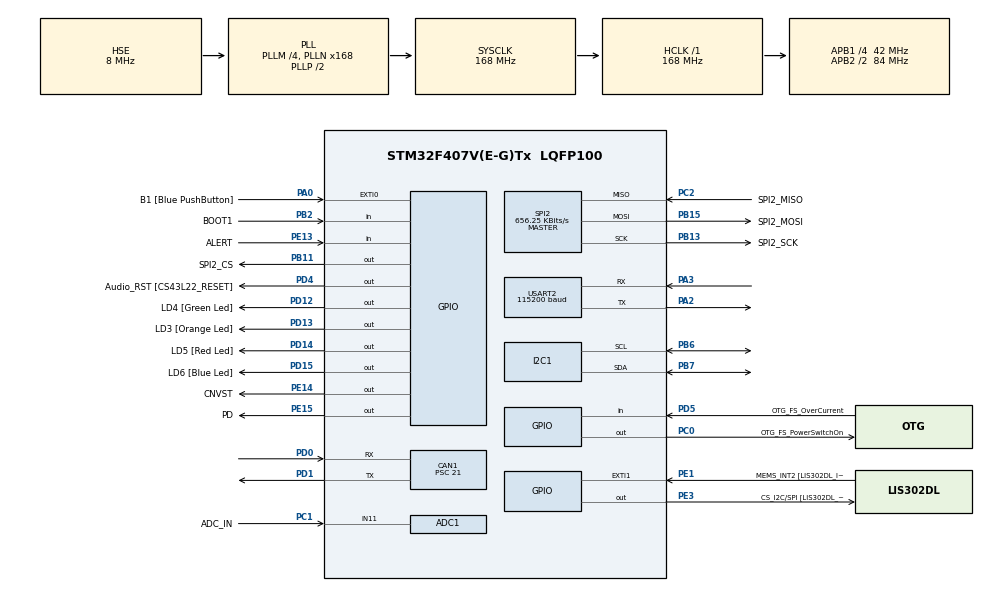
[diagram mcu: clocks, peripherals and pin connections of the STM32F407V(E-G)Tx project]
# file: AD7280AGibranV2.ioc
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ADC1.Channel-0\#ChannelRegularConversion=ADC_CHANNEL_11
ADC1.ClockPrescaler=ADC_CLOCK_SYNC_PCLK_DIV4
ADC1.ContinuousConvMode=DISABLE
ADC1.DMAContinuousRequests=DISABLE
ADC1.DataAlign=ADC_DATAALIGN_RIGHT
ADC1.DiscontinuousConvMode=DISABLE
ADC1.EOCSelection=ADC_EOC_SINGLE_CONV
ADC1.EnableAnalogWatchDog=false
ADC1.ExternalTrigConvEdge=ADC_EXTERNALTRIGCONVEDGE_NONE
ADC1.InjNumberOfConversion=0
ADC1.NbrOfConversion=1
ADC1.NbrOfConversionFlag=1
ADC1.Rank-0\#ChannelRegularConversion=1
ADC1.Resolution=ADC_RESOLUTION_12B
ADC1.SamplingTime-0\#ChannelRegularConversion=ADC_SAMPLETIME_15CYCLES
ADC1.ScanConvMode=DISABLE
ADC1.master=1
CAN1.BS1=CAN_BS1_4TQ
CAN1.BS2=CAN_BS2_3TQ
CAN1.CalculateBaudRate=250000
CAN1.CalculateTimeBit=4000
CAN1.CalculateTimeQuantum=500.0
CAN1.Prescaler=21
Dma.Request0=USART2_TX
Dma.USART2_TX.0.Direction=DMA_MEMORY_TO_PERIPH
Dma.USART2_TX.0.FIFOMode=DMA_FIFOMODE_DISABLE
Dma.USART2_TX.0.Instance=DMA1_Stream6
Dma.USART2_TX.0.MemDataAlignment=DMA_MDATAALIGN_BYTE
Dma.USART2_TX.0.MemInc=DMA_MINC_ENABLE
Dma.USART2_TX.0.Mode=DMA_NORMAL
Dma.USART2_TX.0.PeriphDataAlignment=DMA_PDATAALIGN_BYTE
Dma.USART2_TX.0.PeriphInc=DMA_PINC_DISABLE
Dma.USART2_TX.0.Priority=DMA_PRIORITY_LOW
Mcu.Family=STM32F4
Mcu.Name=STM32F407V(E-G)Tx
Mcu.Package=LQFP100
NVIC.ADC_IRQn=true\:0\:0\:false\:false\:true\:true\:true\:true
NVIC.CAN1_RX1_IRQn=true\:0\:0\:false\:false\:true\:true\:true\:true
NVIC.CAN1_TX_IRQn=true\:0\:0\:false\:false\:true\:true\:true\:true
NVIC.DMA1_Stream6_IRQn=true\:0\:0\:false\:false\:true\:true\:true\:true
NVIC.EXTI0_IRQn=true\:0\:3\:false\:false\:true\:true\:true\:true
NVIC.I2C1_EV_IRQn=true\:0\:2\:false\:false\:true\:true\:true\:true
NVIC.PriorityGroup=NVIC_PRIORITYGROUP_0
NVIC.SPI2_IRQn=true\:0\:1\:false\:false\:true\:true\:true\:true
NVIC.TIM1_BRK_TIM9_IRQn=true\:0\:4\:false\:false\:true\:true\:true\:true
NVIC.TIM3_IRQn=true\:0\:2\:false\:false\:true\:true\:true\:true
NVIC.USART2_IRQn=true\:0\:4\:false\:false\:true\:true\:true\:true
PA0-WKUP.GPIO_Label=B1 [Blue PushButton]
PA0-WKUP.GPIO_ModeDefaultEXTI=GPIO_MODE_IT_RISING
PA0-WKUP.GPIO_PuPd=GPIO_NOPULL
PA0-WKUP.Signal=GPXTI0
PA10.GPIO_Label=OTG_FS_ID
PA10.GPIO_Mode=GPIO_MODE_AF_PP
PA10.GPIO_PuPd=GPIO_NOPULL
PA10.GPIO_Speed=GPIO_SPEED_FREQ_LOW
PA10.Signal=USB_OTG_FS_ID
PA11.GPIO_Label=OTG_FS_DM
PA11.GPIO_Mode=GPIO_MODE_AF_PP
PA11.GPIO_PuPd=GPIO_NOPULL
PA11.GPIO_Speed=GPIO_SPEED_FREQ_LOW
PA11.Signal=USB_OTG_FS_DM
PA12.GPIO_Label=OTG_FS_DP
PA12.GPIO_Mode=GPIO_MODE_AF_PP
PA12.GPIO_PuPd=GPIO_NOPULL
PA12.GPIO_Speed=GPIO_SPEED_FREQ_LOW
PA12.Signal=USB_OTG_FS_DP
PA13.GPIO_Label=SWDIO
PA13.Mode=Trace_Asynchronous_SW
PA13.Signal=SYS_JTMS-SWDIO
PA14.GPIO_Label=SWCLK
PA14.Mode=Trace_Asynchronous_SW
PA14.Signal=SYS_JTCK-SWCLK
PA2.Mode=Asynchronous
PA2.Signal=USART2_TX
PA3.Mode=Asynchronous
PA3.Signal=USART2_RX
PA4.GPIO_Label=I2S3_WS [CS43L22_LRCK]
PA4.GPIO_Mode=GPIO_MODE_AF_PP
PA4.GPIO_PuPd=GPIO_NOPULL
PA4.GPIO_Speed=GPIO_SPEED_FREQ_LOW
PA4.Signal=I2S3_WS
PA5.GPIO_Label=SPI1_SCK [LIS302DL_SCL/SPC]
PA5.GPIO_Mode=GPIO_MODE_AF_PP
PA5.GPIO_PuPd=GPIO_NOPULL
PA5.GPIO_Speed=GPIO_SPEED_FREQ_LOW
PA5.Signal=SPI1_SCK
PA6.GPIO_Label=SPI1_MISO [LIS302DL_SDO]
PA6.GPIO_Mode=GPIO_MODE_AF_PP
PA6.GPIO_PuPd=GPIO_NOPULL
PA6.GPIO_Speed=GPIO_SPEED_FREQ_LOW
PA6.Signal=SPI1_MISO
PA7.GPIO_Label=SPI1_MOSI [LIS302DL_SDA/SDI/SDO]
PA7.GPIO_Mode=GPIO_MODE_AF_PP
PA7.GPIO_PuPd=GPIO_NOPULL
PA7.GPIO_Speed=GPIO_SPEED_FREQ_LOW
PA7.Signal=SPI1_MOSI
PA9.GPIO_Label=VBUS_FS
PA9.GPIO_Mode=GPIO_MODE_INPUT
PA9.GPIO_PuPd=GPIO_NOPULL
PA9.Signal=USB_OTG_FS_VBUS
PB10.GPIO_Label=CLK_IN [MP45DT02_CLK]
PB10.GPIO_Mode=GPIO_MODE_AF_PP
PB10.GPIO_PuPd=GPIO_NOPULL
PB10.GPIO_Speed=GPIO_SPEED_FREQ_LOW
PB10.Signal=I2S2_CK
PB11.GPIO_Label=SPI2_CS
PB11.GPIO_PuPd=GPIO_PULLUP
PB11.GPIO_Speed=GPIO_SPEED_FREQ_VERY_HIGH
PB11.Signal=GPIO_Output
PB13.GPIO_Label=SPI2_SCK
PB13.Mode=Full_Duplex_Master
PB13.Signal=SPI2_SCK
PB15.GPIO_Label=SPI2_MOSI
PB15.Mode=Full_Duplex_Master
PB15.Signal=SPI2_MOSI
PB2.GPIO_Label=BOOT1
PB2.GPIO_Mode=GPIO_MODE_INPUT
PB2.GPIO_PuPd=GPIO_NOPULL
PB2.Signal=GPIO_Input
PB3.GPIO_Label=SWO
PB3.Mode=Trace_Asynchronous_SW
PB3.Signal=SYS_JTDO-SWO
PB6.GPIO_Mode=GPIO_MODE_AF_OD
PB6.GPIO_Pu=GPIO_PULLUP
PB6.GPIO_PuPd=GPIO_NOPULL
PB6.GPIO_Speed=GPIO_SPEED_FREQ_VERY_HIGH
PB6.Mode=I2C
PB6.Signal=I2C1_SCL
PB7.GPIO_Mode=GPIO_MODE_AF_OD
PB7.GPIO_Pu=GPIO_PULLUP
PB7.GPIO_Speed=GPIO_SPEED_FREQ_VERY_HIGH
PB7.Mode=I2C
PB7.Signal=I2C1_SDA
PC0.GPIO_Label=OTG_FS_PowerSwitchOn
PC0.GPIO_PuPd=GPIO_NOPULL
PC0.GPIO_Speed=GPIO_SPEED_FREQ_LOW
PC0.Signal=GPIO_Output
PC1.GPIO_Label=ADC_IN
PC1.Signal=ADCx_IN11
PC10.GPIO_Label=I2S3_SCK [CS43L22_SCLK]
PC10.GPIO_Mode=GPIO_MODE_AF_PP
PC10.GPIO_PuPd=GPIO_NOPULL
PC10.GPIO_Speed=GPIO_SPEED_FREQ_LOW
PC10.Signal=I2S3_CK
PC12.GPIO_Label=I2S3_SD [CS43L22_SDIN]
PC12.GPIO_Mode=GPIO_MODE_AF_PP
PC12.GPIO_PuPd=GPIO_NOPULL
PC12.GPIO_Speed=GPIO_SPEED_FREQ_LOW
PC12.Signal=I2S3_SD
PC14-OSC32_IN.GPIO_Label=PC14-OSC32_IN
PC14-OSC32_IN.Signal=RCC_OSC32_IN
PC15-OSC32_OUT.GPIO_Label=PC15-OSC32_OUT
PC15-OSC32_OUT.Signal=RCC_OSC32_OUT
PC2.GPIO_Label=SPI2_MISO
PC2.Mode=Full_Duplex_Master
PC2.Signal=SPI2_MISO
PC3.GPIO_Label=PDM_OUT [MP45DT02_DOUT]
PC3.GPIO_Mode=GPIO_MODE_AF_PP
PC3.GPIO_PuPd=GPIO_NOPULL
PC3.GPIO_Speed=GPIO_SPEED_FREQ_LOW
PC3.Signal=I2S2_SD
PC7.GPIO_Label=I2S3_MCK [CS43L22_MCLK]
PC7.GPIO_Mode=GPIO_MODE_AF_PP
PC7.GPIO_PuPd=GPIO_NOPULL
PC7.GPIO_Speed=GPIO_SPEED_FREQ_LOW
PC7.Signal=I2S3_MCK
PD0.Mode=CAN_Activate
PD0.Signal=CAN1_RX
PD1.Mode=CAN_Activate
PD1.Signal=CAN1_TX
PD12.GPIO_Label=LD4 [Green Led]
PD12.GPIO_PuPd=GPIO_NOPULL
PD12.GPIO_Speed=GPIO_SPEED_FREQ_LOW
PD12.Signal=GPIO_Output
PD13.GPIO_Label=LD3 [Orange Led]
PD13.GPIO_PuPd=GPIO_NOPULL
PD13.GPIO_Speed=GPIO_SPEED_FREQ_LOW
PD13.Signal=GPIO_Output
PD14.GPIO_Label=LD5 [Red Led]
PD14.GPIO_PuPd=GPIO_NOPULL
PD14.GPIO_Speed=GPIO_SPEED_FREQ_LOW
PD14.Signal=GPIO_Output
PD15.GPIO_Label=LD6 [Blue Led]
PD15.GPIO_PuPd=GPIO_NOPULL
PD15.GPIO_Speed=GPIO_SPEED_FREQ_LOW
PD15.Signal=GPIO_Output
PD4.GPIO_Label=Audio_RST [CS43L22_RESET]
PD4.GPIO_PuPd=GPIO_NOPULL
PD4.GPIO_Speed=GPIO_SPEED_FREQ_LOW
PD4.Signal=GPIO_Output
PD5.GPIO_Label=OTG_FS_OverCurrent
PD5.GPIO_Mode=GPIO_MODE_INPUT
PD5.GPIO_PuPd=GPIO_NOPULL
PD5.Signal=GPIO_Input
PE1.GPIO_Label=MEMS_INT2 [LIS302DL_INT2]
PE1.GPIO_ModeDefaultEXTI=GPIO_MODE_EVT_RISING
PE1.GPIO_PuPd=GPIO_NOPULL
PE1.Signal=GPXTI1
PE13.GPIO_Label=ALERT
PE13.Signal=GPIO_Input
PE14.GPIO_Label=CNVST
PE14.GPIO_PuPd=GPIO_PULLUP
PE14.GPIO_Speed=GPIO_SPEED_FREQ_VERY_HIGH
PE14.Signal=GPIO_Output
PE15.GPIO_Label=PD
PE15.GPIO_PuPd=GPIO_PULLUP
PE15.GPIO_Speed=GPIO_SPEED_FREQ_VERY_HIGH
PE15.Signal=GPIO_Output
PE3.GPIO_Label=CS_I2C/SPI [LIS302DL_CS_I2C/SPI]
PE3.GPIO_PuPd=GPIO_NOPULL
PE3.GPIO_Speed=GPIO_SPEED_FREQ_LOW
PE3.Signal=GPIO_Output
PH0-OSC_IN.GPIO_Label=PH0-OSC_IN
PH0-OSC_IN.Mode=HSE-External-Oscillator
PH0-OSC_IN.Signal=RCC_OSC_IN
PH1-OSC_OUT.GPIO_Label=PH1-OSC_OUT
PH1-OSC_OUT.Mode=HSE-External-Oscillator
PH1-OSC_OUT.Signal=RCC_OSC_OUT
ProjectManager.HeapSize=0x200
ProjectManager.StackSize=0x400
ProjectManager.TargetToolchain=STM32CubeIDE
RCC.48MHZClocksFreq_Value=48000000
RCC.AHBFreq_Value=168000000
RCC.APB1CLKDivider=RCC_HCLK_DIV4
RCC.APB1Freq_Value=42000000
RCC.APB1TimFreq_Value=84000000
RCC.APB2CLKDivider=RCC_HCLK_DIV2
RCC.APB2Freq_Value=84000000
RCC.APB2TimFreq_Value=168000000
RCC.CortexFreq_Value=168000000
RCC.HCLKFreq_Value=168000000
RCC.HSE_VALUE=8000000
RCC.HSI_VALUE=16000000
RCC.LSE_VALUE=32768
RCC.PLLM=4
RCC.PLLN=168
RCC.PLLQ=7
RCC.PLLSourceVirtual=RCC_PLLSOURCE_HSE
RCC.SYSCLKFreq_VALUE=168000000
RCC.SYSCLKSource=RCC_SYSCLKSOURCE_PLLCLK
RCC.VCOOutputFreq_Value=336000000
SH.ADCx_IN11.0=ADC1_IN11,IN11
SPI2.BaudRatePrescaler=SPI_BAUDRATEPRESCALER_64
SPI2.CLKPhase=SPI_PHASE_2EDGE
SPI2.CalculateBaudRate=656.25 KBits/s
SPI2.DataSize=SPI_DATASIZE_16BIT
SPI2.Direction=SPI_DIRECTION_2LINES
SPI2.Mode=SPI_MODE_MASTER
SPI2.VirtualType=VM_MASTER
TIM3.Period=1999
TIM3.Prescaler=48000
TIM9.Period=99
TIM9.Prescaler=480
USART2.BaudRate=115200
USART2.VirtualMode=VM_ASYNC
VP_TIM3_VS_ClockSourceINT.Mode=Internal
VP_TIM9_VS_ClockSourceINT.Mode=Internal
board=STM32F4DISCOVERY

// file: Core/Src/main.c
/* USER CODE BEGIN Header */
/**
  ******************************************************************************
  * @file           : main.c
  * @brief          : Main program body
  ******************************************************************************
  * @attention
  *
  * Copyright (c) 2025 STMicroelectronics.
  * All rights reserved.
  *
  * This software is licensed under terms that can be found in the LICENSE file
  * in the root directory of this software component.
  * If no LICENSE file comes with this software, it is provided AS-IS.
  *
  ******************************************************************************
  */
/* USER CODE END Header */
#include "main.h"
#include "adc.h"
#include "can.h"
#include "dma.h"
#include "i2c.h"
#include "spi.h"
#include "tim.h"
#include "usart.h"
#include "gpio.h"

/* USER CODE BEGIN Includes */
#include "ADS1015_ADS1115.h"
#include "math.h"
#include "ad7280a_stm32.h"
#include "string.h"
#include "eeprom.h"
#include "stdlib.h"
#include "stdio.h"
/* USER CODE END Includes */

/* USER CODE BEGIN PV */
#define		VTh				0.025		//Battery voltage treshold in percentage of battery average voltage to detect cell that have to be in balancing state (charging mode)
#define		VTh_CB				0.05		//Treshold for cell balancing
#define		Vhigh				4100		//High Voltage limit
#define		Vlow				2800		//Low Voltage limit
#define         Vth_high                        4000
#define         Vth_low                         2800
#define         Thigh                           55              //High temp limit
#define		CTh				0.1		//Current treshold in percentage of battery capacity to detect in idle, charge or discharge condition
#define		packCapacity			24		//Battery Capacity in Ah
#define		discharge_current_limit		-300		//Discharge current limit in Ampere
#define		charge_current_limit		8
#define		THERMISTORNOMINAL		10000
#define		TEMPERATURENOMINAL		25
#define		BCOEFFICIENT			3974
#define		SERIESRESISTOR			10000
#define         consecutiveCount                20      //How many consecutive count error to trigger fault
//#define		BATTERY_SERIES_CON		24
//#define 		ARM_MATH_CM4

float					thermistor_resistance[BATTERY_SERIES_CON];
uint8_t 					SPI_Ready = 1, SPI_TX = 1, SPI_RX = 1;
uint8_t 					readBattery = 0;
uint16_t 				ADC_Val = 0;
uint16_t                                ADC_Val_Ref = 0;
float                                   vRef;
uint16_t 				sample_num;
float                                   Vtotal = 0;
float 					out[3]={0,0,0},in[3]={0,0,0};
float 					ADC_Filtered;
float 					current[2], mAh, Ah, accumulator;
uint16_t				capacity = 16200;
float                                   vADC;

float 					Vmax,Vmin,Vavg,Vtresh;
uint8_t					Cell_balancer[BATTERY_SERIES_CON],CB[BATTERY_SERIES_CON/6][12], lastCB[BATTERY_SERIES_CON/6][12], packState=0, lastPackState=0, CBChange;
uint8_t					packUnbalanced = 0,lastPackUnbalanced = 0;
uint8_t					fully_discharged=0,last_fully_discharged=0,fully_charged=0;

extern float         			cellVoltage[BATTERY_SERIES_CON];
extern float         			auxADC[BATTERY_SERIES_CON];
float							temperature[BATTERY_SERIES_CON];

float					VarDataCap = 0;
uint16_t 				VarValue,VarDataTmp = 0;

uint8_t					startUp;
uint16_t 				telo1, telo2;
char					textBuf[511];

uint8_t									DschCtrl, ChCtrl;
uint8_t                                 DisCtrl, CharCtrl;
uint8_t                                 uv_stat, ov_stat;
uint8_t                                 ot_stat;
uint8_t                                 fault1, faultChar,faultall;
int16_t                                 kampret;

uint16_t                                fault0;

ADS1xx5_I2C 							i2c;
int16_t 								adc1;
int 									millivolt;
char 									snum[7];  // Sufficient space for millivolt values (-4096 to 4096)

int __io_putchar(int ch) {
    HAL_UART_Transmit(&huart2, (uint8_t *)&ch, 1, HAL_MAX_DELAY);
    return ch;
}
/* USER CODE END PV */

void SystemClock_Config(void);
/* USER CODE BEGIN PFP */
void LPF_current_sensor(void);
void current_calc(void);
void calcVBatCond(void);
void temperature_calc(void);
void printPlot(void);
void chargingMode(void);
void Error_Handler(void);
void calcUV(void);
void calcOV(void);
void calcOT(void);
void faultDet(void);
void faultDetChar(void);
void faultTotal(void);
void q31_to_u16_buffer(int32_t inval, uint16_t* pBuffer);
void calcVtotal(void);
void Get_ADC_Value(void);
void CANTransmit(void);
void ReadADS1115(void);
/* USER CODE END PFP */

int main(void)
{

  /* MCU Configuration--------------------------------------------------------*/

  /* Reset of all peripherals, Initializes the Flash interface and the Systick. */
  HAL_Init();

  /* Configure the system clock */
  SystemClock_Config();

  /* Initialize all configured peripherals */
  MX_GPIO_Init();
  MX_DMA_Init();
  MX_ADC1_Init();
  MX_SPI2_Init();
  MX_TIM3_Init();
  MX_TIM9_Init();
  MX_USART2_UART_Init();
  MX_CAN1_Init();
  MX_I2C1_Init();
  /* USER CODE BEGIN 2 */
  HAL_CAN_Start(&hcan1);
  HAL_CAN_ActivateNotification(&hcan1,
      CAN_IT_RX_FIFO0_MSG_PENDING |
      CAN_IT_TX_MAILBOX_EMPTY);

  accumulator = capacity;
  AD7280A_Init();

  HAL_TIM_Base_Start_IT(&htim3);
  HAL_TIM_Base_Start_IT(&htim9);
  startUp = 1;
  ADS1115(&i2c, &hi2c1, ADS_ADDR_GND); // Or ADS1015(&i2c, &hi2c1, ADS_ADDR_GND);
  ADSsetGain(&i2c, GAIN_ONE);

  for(int i = 0; i < 20; i++){
      Get_ADC_Value();
      ADC_Val_Ref = ADC_Val_Ref + ADC_Val;
    }
     vRef = ((ADC_Val_Ref/20)/4095.)*3.3;

    if(vRef < 2.6 && vRef > 2.4){
     vRef = vRef;
    }
    else{ vRef = 2.5;}
  /* USER CODE END 2 */

  /* Infinite loop */
  while (1)
  {

    /* USER CODE BEGIN 3 */
	    if(readBattery == 1)
	    {
	      AD7280A_Convert_Read_All(BATTERY_SERIES_CON);							// read all battery voltage and auxilary adc

	      /* // buat testing balancing
	      if(ctrcb == 5) {
	        ctrcb = 0;
	        cbcb++;
	      }
	      ctrcb++;

	      if(cbcb < 12){
	        cellVoltage[cbcb] = 3580;
	      }
	      //if(cbcb == 9) cbcb = 8;
	      else if(cbcb >= 12) cbcb = 6;
	      */

	      HAL_GPIO_WritePin(LD6_GPIO_Port, LD6_Pin, GPIO_PIN_SET);

	      Get_ADC_Value();
	     // ReadADS1115();
	      Vtotal = 0;
	      calcVtotal();
	      temperature_calc();
	      calcVBatCond();											// calc all Vbat condition include battery cell need to be balanced
	      calcUV();
	      calcOV();
	      calcOT();
	      faultDet();
	      faultDetChar();
	      faultTotal();
	      if(packState ==  1 && lastPackState != 1 ){					//Charging state detected when the state before is Idle state	=>> deteksi kondisi dari idle/discharging ke charging
		if(packUnbalanced == 1)									//unbalanced pack condition detection
		{
		  //printf("Cond 1\n");
		  chargingMode();										//Balancing activation if pack is unbalanced
		}
		else
		{
		   //printf("Cond 2\n");
		   AD7280A_CBOffAll();									//Turn off all balancing output if pack is already in balanced condition
		}
	      }
	      else if(packState == 1 && lastPackState ==1){				//detection in charging state	=>> deteksi kondisi pada saat charging
		if(packUnbalanced == 0 && lastPackUnbalanced == 1)		//when in charging state, the pack goes to balanced condition
		{
	          //printf("Cond 3\n");
		  AD7280A_CBOffAll();									//Turn off all balancing output
		}
		else if(packUnbalanced == 1 && lastPackUnbalanced ==0)
		{
		  //printf("Cond 4\n");
		  //AD7280A_CBxTim(2);
		  //AD7280A_CBOutAll(12);
		  chargingMode();
		}
		else if(packUnbalanced == 1 && lastPackUnbalanced == 1 && CBChange ==1)
		{
		  //printf("Cond 5\n");
		  chargingMode();
		}
	      }
	      else if(packState == 0 && lastPackState == 1){				//when go to Idle state from charging state	=>> deteksi kondisi charging ke idle
		//printf("Cond 6\n");
		AD7280A_CBOffAll();										//turn off all balancing output
	      }

	      //chargingMode();
	      printPlot();
	      CANTransmit();
	      //sendCANMessage();

	      HAL_GPIO_WritePin(LD6_GPIO_Port, LD6_Pin, GPIO_PIN_RESET);

	      if(packState == 1)
	      {
		//HAL_GPIO_TogglePin(LD3_GPIO_Port, LD3_Pin);
		//HAL_GPIO_WritePin(LD4_GPIO_Port, LD4_Pin, GPIO_PIN_RESET);
	      }
	      else if(packState ==2)
	      {
		//HAL_GPIO_TogglePin(LD4_GPIO_Port, LD4_Pin);
		//HAL_GPIO_WritePin(LD3_GPIO_Port, LD3_Pin, GPIO_PIN_RESET);
	      }
	      else
	      {
		//HAL_GPIO_WritePin(LD3_GPIO_Port, LD3_Pin, GPIO_PIN_RESET);
		//HAL_GPIO_WritePin(LD4_GPIO_Port, LD4_Pin, GPIO_PIN_RESET);
	      }

	      //if(fully_discharged==1)
		//HAL_GPIO_WritePin(LD6_GPIO_Port, LD6_Pin, GPIO_PIN_RESET);
	      //else
		//HAL_GPIO_WritePin(LD6_GPIO_Port, LD6_Pin, GPIO_PIN_SET);

	      //if(fully_charged==1)
		//HAL_GPIO_WritePin(LD5_GPIO_Port, LD5_Pin, GPIO_PIN_SET);
	      //else
		//HAL_GPIO_WritePin(LD5_GPIO_Port, LD5_Pin, GPIO_PIN_RESET);

	      lastPackState = packState;
	      startUp = 0;
	      fault0 = fault1;

	      if(startUp == 0 && packState !=0)
		{
//			if(EE_WriteVariable(VirtAddVarTab[1], (uint16_t) capacity) != HAL_OK)
//	 		{
//			  Error_Handler();;
//	 		}
		}

	    }

	      }
  /* USER CODE END 3 */
}

void SystemClock_Config(void)
{
  RCC_OscInitTypeDef RCC_OscInitStruct = {0};
  RCC_ClkInitTypeDef RCC_ClkInitStruct = {0};

  /** Configure the main internal regulator output voltage
  */
  __HAL_RCC_PWR_CLK_ENABLE();
  __HAL_PWR_VOLTAGESCALING_CONFIG(PWR_REGULATOR_VOLTAGE_SCALE1);

  /** Initializes the RCC Oscillators according to the specified parameters
  * in the RCC_OscInitTypeDef structure.
  */
  RCC_OscInitStruct.OscillatorType = RCC_OSCILLATORTYPE_HSE;
  RCC_OscInitStruct.HSEState = RCC_HSE_ON;
  RCC_OscInitStruct.PLL.PLLState = RCC_PLL_ON;
  RCC_OscInitStruct.PLL.PLLSource = RCC_PLLSOURCE_HSE;
  RCC_OscInitStruct.PLL.PLLM = 4;
  RCC_OscInitStruct.PLL.PLLN = 168;
  RCC_OscInitStruct.PLL.PLLP = RCC_PLLP_DIV2;
  RCC_OscInitStruct.PLL.PLLQ = 7;
  if (HAL_RCC_OscConfig(&RCC_OscInitStruct) != HAL_OK)
  {
    Error_Handler();
  }

  /** Initializes the CPU, AHB and APB buses clocks
  */
  RCC_ClkInitStruct.ClockType = RCC_CLOCKTYPE_HCLK|RCC_CLOCKTYPE_SYSCLK
                              |RCC_CLOCKTYPE_PCLK1|RCC_CLOCKTYPE_PCLK2;
  RCC_ClkInitStruct.SYSCLKSource = RCC_SYSCLKSOURCE_PLLCLK;
  RCC_ClkInitStruct.AHBCLKDivider = RCC_SYSCLK_DIV1;
  RCC_ClkInitStruct.APB1CLKDivider = RCC_HCLK_DIV4;
  RCC_ClkInitStruct.APB2CLKDivider = RCC_HCLK_DIV2;

  if (HAL_RCC_ClockConfig(&RCC_ClkInitStruct, FLASH_LATENCY_5) != HAL_OK)
  {
    Error_Handler();
  }
}

/* USER CODE BEGIN 4 */
void HAL_CAN_RxFifo0MsgPendingCallback(CAN_HandleTypeDef *hcan) {
    CAN_RxHeaderTypeDef rxHeader;
    uint8_t rxData[8];

    // Read the received message
    if (HAL_CAN_GetRxMessage(hcan, CAN_RX_FIFO0, &rxHeader, rxData) == HAL_OK) {
        if (rxHeader.IDE == CAN_ID_EXT) {
            // Extended ID received
            if (rxHeader.ExtId == 0x18FF50E5) {
                printf("Received Charger Feedback: 0x%X | Data: ", rxHeader.ExtId);
                for (int i = 0; i < rxHeader.DLC; i++) {
                    printf("%02X ", rxData[i]);
                }
                printf("\n");
            }
        } else if (rxHeader.IDE == CAN_ID_STD) {
            // Standard ID received
            if (rxHeader.StdId >= 18 && rxHeader.StdId <= 41) {
                printf("Received Standard ID: 0x%X | Data: ", rxHeader.StdId);
                for (int i = 0; i < rxHeader.DLC; i++) {
                    printf("%02X ", rxData[i]);
                }
                printf("\n");
            }
        }
    }
}

void HAL_CAN_TxMailbox0CompleteCallback(CAN_HandleTypeDef *hcan) {
    //printf("CAN Transmission Successful\r\n");
}

void ReadADS1115(void){
    adc1 = ADSreadADC_SingleEnded(&i2c, 1);  // Read ADC channel 1
    millivolt = adc1 * 4.096 * 1000 / 32768; // Convert to millivolts

    itoa(millivolt, snum, 10);  // Convert int to string

    // Example: Send over serial or display
    //printf("ADC1: %d mV\n", millivolt);
}

void CANTransmit(void) {

	// CAN CURRENT
    //char strNumber[20];       // Buffer to hold the converted float as a string
    float currentC = current[0];
    uint8_t TxData[2];  // Data array to store firstByte and secondByte
    // Step 1: Take absolute value and round to the nearest integer
    int currentCAN = (int) round(fabs(currentC));

    // Step 2: Extract tens and ones place
    uint8_t currentfirstByte = (uint8_t) floor(currentCAN / 10.0);
    uint8_t currentsecondByte = (uint8_t) (currentCAN % 10);

//    // Step 3: Extract tens and ones place
//    uint8_t currentfirstByte = (uint8_t)floor((double)currentCAN / 10);
//    uint8_t currentsecondByte = (uint8_t)(currentCAN % 10); // Ones place

//    int scaledData = (int)current[0]; // Scale the data if necessary
//
//    if (scaledData < 255 || scaledData > -255) {
//        TxData[0] = 0;
//        TxData[1] = (uint8_t)floor(scaledData / 100.0); // Integer part with floor rounding
//        TxData[2] = (uint8_t)(scaledData % 100); // Decimal part
//    } else {
//        TxData[0] = (uint8_t)(scaledData / 10000); // First digit
//        TxData[1] = (uint8_t)floor(scaledData / 100.0); // Integer part
//        TxData[2] = (uint8_t)(scaledData % 100); // Decimal part
//    }

	    // Debug output
//	    printf("MilliCurrent: %.6f mA\n", milliCurrent);
//	    printf("First three significant digits: %s\n", firstThreeDigits);
//	    printf("currentCAN: %d\n", currentCAN);
//	    printf("First Byte: %d\n", currentfirstByte);
//	    printf("Second Byte: %d\n", currentsecondByte);

	    CAN_TxHeaderTypeDef TxHeader;

	    uint8_t ChargerData[8];
	    uint32_t TxMailbox;

	    // Set CAN message ID and properties
	    TxHeader.StdId = 56;       // Standard ID 0x56
	    TxHeader.ExtId = 0;          // Not using extended ID
	    TxHeader.IDE = CAN_ID_STD;   // Standard ID mode
	    TxHeader.RTR = CAN_RTR_DATA; // Data frame
	    TxHeader.DLC = 2;            // Sending 2 bytes

	    // Assign data bytes
	    TxData[0] = currentfirstByte;
	    TxData[1] = currentsecondByte;

	    // Send CAN message
	    if (HAL_CAN_AddTxMessage(&hcan1, &TxHeader, TxData, &TxMailbox) != HAL_OK) {
	        // Handle error
	        printf("CAN Transmission Failed!\n");
	    } else {
//	        printf("CAN Message Sent: ID=0x56, Data=[%d, %d]\n", currentfirstByte, currentsecondByte);
	    }

	    TxHeader.StdId = 0x1806E5F4;       // Standard ID 0x56
	    TxHeader.ExtId = 0;          // Not using extended ID
	    TxHeader.IDE = CAN_ID_STD;   // Standard ID mode
	    TxHeader.RTR = CAN_RTR_DATA; // Data frame
	    TxHeader.DLC = 8;            // Sending 2 bytes

	    ChargerData[0] = 0x0F;
	    ChargerData[1] = 0xA0;
	    ChargerData[2] = 0x00;
	    ChargerData[3] = 0x3C;
	    ChargerData[4] = 0;
	    ChargerData[5] = 0;
	    ChargerData[6] = 0;
	    ChargerData[7] = 0;

	    if (HAL_CAN_AddTxMessage(&hcan1, &TxHeader, ChargerData, &TxMailbox) != HAL_OK) {
	        // Handle error
	        printf("CAN Transmission Failed!\n");
	    } else {
//	        printf("CAN Message Sent: ID=0x56, Data=[%d, %d]\n", currentfirstByte, currentsecondByte);
	    }
}

void HAL_SPI_TxCpltCallback(SPI_HandleTypeDef *hspi)
{
  HAL_GPIO_WritePin(SPI2_CS_GPIO_Port, SPI2_CS_Pin, GPIO_PIN_SET);
  SPI_TX = 1;
  SPI_Ready = 1;
}

void HAL_SPI_RxCpltCallback(SPI_HandleTypeDef *hspi)
{
  HAL_GPIO_WritePin(SPI2_CS_GPIO_Port, SPI2_CS_Pin, GPIO_PIN_SET);
  SPI_RX = 1;
  SPI_Ready = 1;
}

void HAL_SPI_TxRxCpltCallback(SPI_HandleTypeDef *hspi)
{
  HAL_GPIO_WritePin(SPI2_CS_GPIO_Port, SPI2_CS_Pin, GPIO_PIN_SET);
  SPI_TX = 1;
  SPI_RX = 1;
  SPI_Ready = 1;
}

void Get_ADC_Value(void)
{
  HAL_ADC_Start(&hadc1);

  HAL_ADC_PollForConversion(&hadc1, 100);

  ADC_Val = HAL_ADC_GetValue(&hadc1);

  LPF_current_sensor();

  if(startUp == 0)
  	current_calc();

  if(current[0] >= packCapacity*CTh)
    packState = 1;					//Pack in charging condition
  else if (current[0] <= -(packCapacity*CTh))
    packState = 2;					//Pack in discharging condition
  else
    packState = 0;					//Pack in idle condition

  if(packState !=0)
  {
//        uint16_t kampret1 = EE_ReadVariable(VirtAddVarTab[1], &capacity);
//  	mAh = ((current[0])/(3.6));
//  	capacity = capacity + (uint16_t)mAh;
//        if(kampret1 - capacity >= 500 || kampret1 - capacity <= -500){
//        EE_WriteVariable(VirtAddVarTab[1], (uint16_t) capacity);
//        }

  }
}

void HAL_ADC_ConvCpltCallback(ADC_HandleTypeDef* hadc)
{
  ADC_Val = HAL_ADC_GetValue(&hadc1);
  LPF_current_sensor();
  if(startUp ==0)
  	current_calc();

  if(current[0] >= packCapacity*CTh)
    packState = 1;					//Pack in charging condition
  else if (current[0] <= -(packCapacity*CTh))
    packState = 2;					//Pack in discharging condition
  else
    packState = 0;					//Pack in dile condition
}

void HAL_TIM_PeriodElapsedCallback(TIM_HandleTypeDef *htim)
{
  if(htim->Instance == TIM3)
  {
  	//HAL_GPIO_TogglePin(LD4_GPIO_Port, LD4_Pin);
	readBattery = 1;
	telo2 = telo1;
	telo1 = 0;
  }
  if(htim->Instance == TIM9)
  {
 	 HAL_ADC_Start_IT(&hadc1);
    	 //current[1] = 0;
	 telo1++;
	 //HAL_GPIO_TogglePin(LD6_GPIO_Port, LD6_Pin);
  }
}

void LPF_current_sensor(void){
  //in[0] = ADC_Val*0.020083365564211236;	//1khz
  //in[0] = ADC_Val*0.20657208382614792;		//100hz

  //in[0] = ADC_Val*0.046131802093312926;		//250hz(20)

  //out[0] = in[0] + 2*in[1] + in[2] + 1.5610180758007182*out[1] -  0.64135153805756318*out[2];	//1khz
  //out[0] = in[0] + 2*in[1] + in[2] + 0.36952737735124147*out[1] -   0.19581571265583314*out[2];	//100hz
  //out[0] = in[0] + 2*in[1] + in[2] + 1.3072850288493234*out[1] - 0.49181223722257528*out[2];	//250hz(20)

  out[0] = (in[0]*in[0]) + 2*in[1] + 1 / ( ((in[0]*in[0]) - (1.3072850288493234*in[1]) + 0.49181223722257528));

  in[1] = in[0];
  in[2] = in[1];
  out[1] = out[0];
  out[2] = out[1];
  ADC_Filtered = out[0];
}

void calcVtotal(void){
  for(int i = 0; i < BATTERY_SERIES_CON; i++){
    Vtotal += cellVoltage[i];
  }
  Vtotal = Vtotal/1000;
}
void current_calc(void){
  //current = (ADC_Filtered-2012)*0.00976801;						//perhitungan matematis
  //current[0] = ((0.013083623564625*ADC_Filtered) - 26.2403127904514)*(-1);		//regresi linear
  //current[0] = ((0.013083623564625*ADC_Filtered) - 26.5103127904514)*(-1);		//regresi linear BMS Arjuna
  //current[0] = ((0.012960749*ADC_Filtered) - 26.03771706)*(-1)+0.1;

  //current[0] = (ADC_Filtered - ADC_REFF)*0.375; // tambahan untuk testing

  //currentx = (ADC_Val - ADC_REFF)*0.375; // tambahan untuk testing
  //current[0] = currentx;

  //current[0] = 0.0309*ADC_Filtered - 549.78;

	vADC = (ADC_Val/4095.)*3.3;
  //current[0] = (vADC - 2.788)/0.00666;
  //current[0] = (150*millivolt) - 420;                                                  //regresi linear PIHER HCSP-1BS-0300
	current[0] = (150*vADC) - 420;                                                  //regresi linear PIHER HCSP-1BS-0300
  //current[0] = -10;

  //Ah = ((current[0]-current[1])/2)/900;
  if(current[0] <= discharge_current_limit || fully_discharged == 1)
  {
    //HAL_GPIO_WritePin(LD6_GPIO_Port, LD6_Pin, GPIO_PIN_RESET);
    DschCtrl = 0;
  }
  else
  {
    //HAL_GPIO_WritePin(LD6_GPIO_Port, LD6_Pin, GPIO_PIN_SET);
    DschCtrl = 1;
  }

  if(current[0] >= charge_current_limit || fully_charged ==1)
  {
    //HAL_GPIO_WritePin(LD5_GPIO_Port, LD5_Pin, GPIO_PIN_RESET);
    ChCtrl = 0;
  }
  else
  {
    //HAL_GPIO_WritePin(LD5_GPIO_Port, LD5_Pin, GPIO_PIN_SET);
    ChCtrl = 1;
  }

  current[1] = current[0];
}

void temperature_calc(void){
  float 	Rt;
  int	 	R = 10000;
  float 	logRt;
  float 	c1  = 1.009249522e-03, c2 = 2.378405444e-04, c3 = 2.019202697e-07;
  float		temp_c;

  for(int i=0; i<BATTERY_SERIES_CON; i++){
    temp_c=0;
    Rt = R*(4096 / auxADC[i] - 1);
    //printf("data aux[%d]= %0.f\n",i, auxADC[i]);
    temp_c = (4096/auxADC[i] - 1);
    thermistor_resistance[i] = SERIESRESISTOR /temp_c;
    //printf("resistance[%d]= %0.f\n",i, thermistor_resistance[i]);

    float steinhart=0;
    steinhart=thermistor_resistance[i]/THERMISTORNOMINAL;
    steinhart=log(steinhart);
    steinhart=steinhart/BCOEFFICIENT;
    steinhart=steinhart+1/(TEMPERATURENOMINAL + 273.15);
    steinhart=1/steinhart;
    temperature[i]=steinhart - 273.15 ;
    //logRt = log(Rt);
    //temperature[i] = (1 /  (c1 + c2*logRt + c3*logRt*logRt*logRt)) - 273.15;
  }
}

void calcUV(void) {
  uv_stat=0;
  DisCtrl=0;
  for(int i=0; i<BATTERY_SERIES_CON;i++)
  {
    if(cellVoltage[i] <= Vlow)
    {
      DisCtrl = DisCtrl | 1;
      uv_stat = uv_stat | 1;
    }
    else
    {
      DisCtrl = DisCtrl | 0;
      uv_stat = uv_stat | 0;
    }
  }
  if(uv_stat == 1) {
    HAL_GPIO_WritePin(LD4_GPIO_Port, LD4_Pin, GPIO_PIN_RESET);
  }
  else{
    HAL_GPIO_WritePin(LD4_GPIO_Port, LD4_Pin, GPIO_PIN_SET);
  }
  //printf("Variable uv_stat = %d\n", uv_stat);

  if(uv_stat == 0)
  {
   for(int i=0; i<BATTERY_SERIES_CON; i++)
   {
    if(cellVoltage[i] > Vth_low)
    {
      //eepromUV = eepromUV | 0;
//      eepromUV = 0;
    }
    else
    {
      //eepromUV = eepromUV | 1;
//      eepromUV = 1;
    }
   }
  }
  else if(uv_stat == 1)
  {
//    eepromUV = 1;
  }
  else if(uv_stat == 0)
  {
   // eepromUV = 0;
  }
  else if (uv_stat == 1)
  {
   // eepromUV = 1;
  }

//  if(EE_WriteVariable(VirtAddVarTab[0], (uint16_t) eepromUV) != HAL_OK)
// {
//   Error_Handler();
// }
}

void calcOV(void) {
  ov_stat = 0;
  CharCtrl = 0;
  for(int i = 0; i<BATTERY_SERIES_CON;i++)
  {
    if(cellVoltage[i] >= Vhigh)
    {
      CharCtrl = CharCtrl | 1;
      ov_stat = ov_stat | 1;
    }
    else
    {
      CharCtrl = CharCtrl | 0;
      ov_stat = ov_stat | 0;
    }
  }
  if(ov_stat == 1) {
    HAL_GPIO_WritePin(LD5_GPIO_Port, LD5_Pin, GPIO_PIN_RESET);
  }
  else{
    HAL_GPIO_WritePin(LD5_GPIO_Port, LD5_Pin, GPIO_PIN_SET);
  }
  //printf("Variable ov_stat = %d\n", ov_stat);

  if(ov_stat == 0)
  {
   for(int i=0; i < BATTERY_SERIES_CON;i++)
   {
    if(cellVoltage[i] < Vth_high)
    {
      //eepromOV = 0;
      //eepromOV = eepromOV | 0;
    }
    else
    {
     // eepromOV = 1;
      //eepromOV = eepromOV | 1;
    }
   }
  }
  else if(ov_stat == 1)
  {
    //eepromOV = 1;
  }
  else if(ov_stat == 0)
  {
    //eepromOV = 0;
  }
  else if (ov_stat == 1)
  {
    //eepromOV = 1;
  }

//  if(EE_WriteVariable(VirtAddVarTab[2], (uint16_t) eepromOV) != HAL_OK)
// {
//   Error_Handler();
// }
}

void calcOT(void) {
  ot_stat=0;
  CharCtrl=0;
  DisCtrl=0;
  for(int i=0; i<BATTERY_SERIES_CON; i++){
  if(i!=0||i!=6)
  {
   if(temperature[i] >= Thigh)
    {
      CharCtrl = CharCtrl | 1;
      DisCtrl = DisCtrl | 1;
      ot_stat = ot_stat | 1;
    }
    else
    {
      CharCtrl = CharCtrl | 0;
      DisCtrl = DisCtrl | 0;
      ot_stat = ot_stat | 0;
    }
  }
  }

  if(ot_stat == 1) {
    HAL_GPIO_WritePin(LD6_GPIO_Port, LD6_Pin, GPIO_PIN_SET);
  }
  else{
    HAL_GPIO_WritePin(LD6_GPIO_Port, LD6_Pin, GPIO_PIN_RESET);
  }
  //printf("Variable ot_stat = %d\n", ot_stat);
}

void faultDet(void){
  fault1 = 0;
  if(packState == 0){
    fault1 = 0;
  }
  else if(packState == 1){
    if(ov_stat == 1)
    {
      fault1 = 1;
    }
    else{
      fault1 = 0;
    }
  }
  else if(packState == 2){
    if(uv_stat == 1)
    {
      fault1 = 1;
    }
    else{
      fault1 = 0;
    }
  }
}

void faultDetChar(void) {
//  faultChar = 0;
//  if(eepromOV==1){
//    faultChar = 1;
//  }
//  else{
//    faultChar = 0;
//  }
  //printf("eeprom ov = %d\n", eepromOV);
}

void faultTotal(void) {

  if(fault1 == 1 && fault0 == 1){
    faultall++;
      if(faultall >= consecutiveCount){
        HAL_GPIO_WritePin(LD3_GPIO_Port, LD3_Pin, GPIO_PIN_RESET);
      }
  }
  else{
    HAL_GPIO_WritePin(LD3_GPIO_Port, LD3_Pin, GPIO_PIN_SET);
    faultall = 0;
  }
  //printf("Fault1 = %d\n", fault1);
  //printf("FaultChar = %d\n", faultChar);
}

void calcVBatCond(void){
  Vmax = 0;
  Vmin = 5000;
  Vavg = 0;
  for(int i=0;i<BATTERY_SERIES_CON;i++)
  {
    if(cellVoltage[i] < Vmin)
      Vmin = cellVoltage[i];
    if(cellVoltage[i] > Vmax)
      Vmax = cellVoltage[i];
  }

  if(Vmin <= Vlow)
    fully_discharged=1;
  else if(Vmin+(Vmin*VTh) > Vlow)
    fully_discharged=0;

  if(Vmax >= Vhigh)
    fully_charged=1;
  else if(Vmax-(Vmax*VTh) < Vhigh)
    fully_charged=0;

  for(int i=0; i<BATTERY_SERIES_CON; i++){
    Vavg = Vavg+cellVoltage[i];
  }
  Vavg = Vavg / BATTERY_SERIES_CON;

  Vtresh =  Vavg+(Vavg*VTh);
  CBChange =0;

  for(int i =0; i <(BATTERY_SERIES_CON/6); i++){
    for(int j=0; j<6; j++){
      lastCB[i][j] = CB[i][j];

      if(CB[i][j] == 0)
      {
	if(cellVoltage[i*6+j] >= Vtresh)
	  CB[i][j] = 1;
        else
	  CB[i][j] = 0;
      }
      else if(CB[i][j] == 1 && packState ==1)
      {
	if(cellVoltage[i*6+j]+0.13 >= Vtresh)
	  CB[i][j] = 1;
	else
	  CB[i][j] = 0;
      }
      else if(CB[i][j] == 1 && packState == 0)
      {
	if(cellVoltage[i*6+j] >= Vtresh)
	  CB[i][j] = 1;
        else
	  CB[i][j] = 0;
      }

    Cell_balancer[i*6+j] = CB[i][j];

    if(lastCB[i][j] != CB[i][j])
      CBChange = CBChange | 1;
    else
      CBChange = CBChange | 0;
    }
  }

  lastPackUnbalanced = packUnbalanced;
  packUnbalanced=0;
  for(int i =0; i<BATTERY_SERIES_CON; i++){
    for(int j=0; j<6; j++){
      //packBalanced = CB[i][j] && packBalanced;
      packUnbalanced = (CB[i][j] | packUnbalanced ? 1: 0);
      //printf("packUnbalanced = %d %d\n", packUnbalanced, ((i+1)*(j+1)));
    }
  }
  //CB[1][3] = 1;
}

void chargingMode(void){
  for(int i =0; i <(BATTERY_SERIES_CON/6); i++){
    for(int j=0; j<6; j++){
      if(CB[i][j] == 1)
	AD7280A_CBxTim(i*6+j);
    }
   AD7280A_CBOutAll(i);
   //HAL_Delay(10);
  }
}

//float movingAvg(float *ptrArrNumbers, float *ptrSum, int pos, int len, float nextNum)
//{
  //Subtract the oldest number from the prev sum, add the new number
  //*ptrSum = *ptrSum - ptrArrNumbers[pos] + nextNum;
  //Assign the nextNum to the position in the array
  //ptrArrNumbers[pos] = nextNum;
  //return the average
 // return *ptrSum / len;
//}

void printPlot(void){
  //for(int i=0; i<BATTERY_SERIES_CON; i++)
  //{
    //printf("AUX ADC[%d] = %0.f\n",i,auxADC[i]);
  //}

  //printf("#");

  printf("%.2f,", current[1]);
  sprintf(textBuf + strlen(textBuf), "CuReg:%.2f,", current[1]);

  printf("%d,", capacity);
  printf(textBuf + strlen(textBuf), "%.2f", capacity);

  printf("@");

  for(int i=0; i<BATTERY_SERIES_CON; i++)
  {

    printf("@%.0f,", cellVoltage[i]);
    sprintf(textBuf, "%.0f,",cellVoltage[i]);
    if(i > 1 && (i+1)%6 == 0){
      printf("@");
    }

  }

  //printf("#");
  //for(int i=12; i<24; i++)
  //{
    //printf("%.0f,", cellVoltage[i]);
    //sprintf(textBuf, "%.0f,",cellVoltage[i]);
  //}
  //printf("\n");
  //printf("#");
  /*
  for(int i =0; i <(BATTERY_SERIES_CON/6); i++){
    for(int j=0; j<6; j++){
	printf("%d,", CB[i][j]);
	sprintf(textBuf + strlen(textBuf), "%d,", CB[i][j]);
    }
  }
  //printf("\n");

  for(int i=0; i<BATTERY_SERIES_CON; i++)
  {
    printf("%.0f,",temperature[i]);
    sprintf(textBuf + strlen(textBuf), "%.0f,",temperature[i]);
  }
  */
  //printf(" V: %.0f,", Vtotal);
  //sprintf(textBuf + strlen(textBuf), "Vtot:%.2f\n", Vtotal);

  //printf(" vADC: %.3f,", vADC);
  //sprintf(textBuf + strlen(textBuf), "ADCr:%.1f,", ADC_Filtered);
  /**/

  //printf("\n");
  /*

  printf("%d,", packState);
  sprintf(textBuf + strlen(textBuf), "ps:%d,", packState);

  */
  //printf("%f,", mAh);
  //sprintf(textBuf + strlen(textBuf), "Ah:%f,", Ah);

//  printf("%d,", fault0);
//  printf(textBuf + strlen(textBuf), "%.2f,", fault0);
//
//  printf("%d,", fault1);
//  printf(textBuf + strlen(textBuf), "%.2f,", fault1);
//
//  printf("%d,", faultall);
//  printf(textBuf + strlen(textBuf), "%.2f,", faultall);

  //printf("%f,", vRef);
  //sprintf(textBuf + strlen(textBuf), "%.2f,", vRef);

  //printf("%f,", vADC);
  //sprintf(textBuf + strlen(textBuf), "%.2f,", vADC);

  //printf("eeprom OV:%d,", eepromOV);
  //sprintf(textBuf + strlen(textBuf), "eeprom OV:%d,", eepromOV);

  //printf("status OV:%d,", ov_stat);
  //sprintf(textBuf + strlen(textBuf), "status OV:%d,", ov_stat);

  //printf("eeprom UV:%d,", eepromUV);

  //printf("status UV:%d,", uv_stat);
  //sprintf(textBuf + strlen(textBuf), "status UV:%d,", uv_stat);
  /*

  printf("%d", fault1);
  sprintf(textBuf + strlen(textBuf), "%d", fault1);
  */
  printf("#\n\r");
  /*
  for(int i =0; i <(BATTERY_SERIES_CON/6); i++){
    for(int j=0; j<6; j++){
	printf("%d,", CB[i][j]);
	sprintf(textBuf + strlen(textBuf), "%d,", CB[i][j]);
    }
  }

  printf("%.0f,",Vavg);
  sprintf(textBuf + strlen(textBuf), "%.0f,",Vavg);
  printf("%.0f,",Vtresh);
  sprintf(textBuf + strlen(textBuf), "%.0f,",Vtresh);

  printf("%d,", lastPackState);
  sprintf(textBuf + strlen(textBuf), "%d,", lastPackState);
  printf("%d,", packUnbalanced);
  sprintf(textBuf + strlen(textBuf), "%d,", packUnbalanced);
  printf("%d,", lastPackUnbalanced);
  sprintf(textBuf + strlen(textBuf), "%d,", lastPackUnbalanced);
  */
  //printf("%d,", CBChange);
  //printf("%d,", ChCtrl);
  //printf("%d\n", DschCtrl);
  //sprintf(textBuf + strlen(textBuf), "%d\n", CBChange);
  //HAL_UART_Transmit_DMA(&huart2, (uint8_t *)textBuf, strlen(textBuf));
  //printf("\n");
}
/* USER CODE END 4 */

void Error_Handler(void)
{
  __disable_irq();
  while (1)
  {
  }
}
